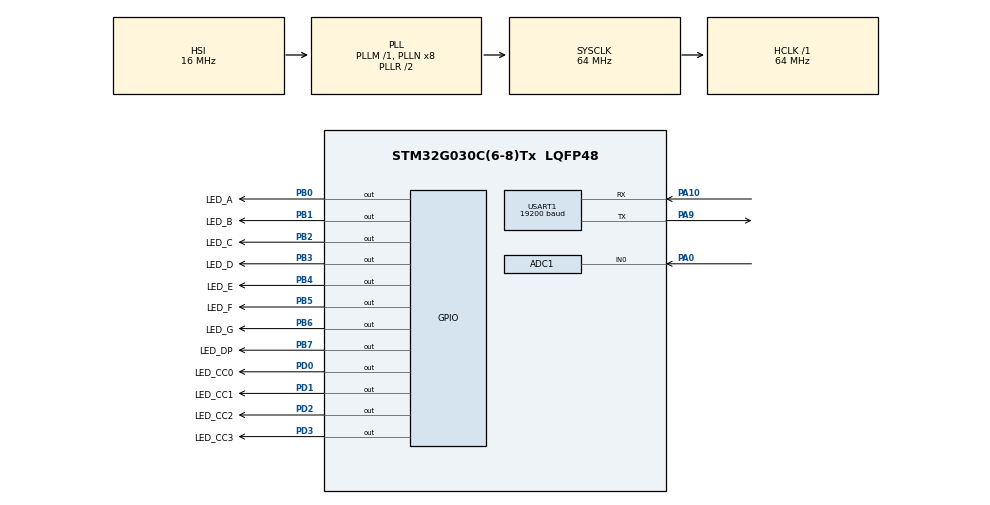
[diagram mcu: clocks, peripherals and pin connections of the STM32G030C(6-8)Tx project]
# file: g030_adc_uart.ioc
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ADC1.Channel-0\#ChannelRegularConversion=ADC_CHANNEL_0
ADC1.ClockPrescaler=ADC_CLOCK_ASYNC_DIV16
ADC1.ExternalTrigConv=ADC_EXTERNALTRIG_T3_TRGO
ADC1.NbrOfConversionFlag=1
ADC1.Rank-0\#ChannelRegularConversion=1
ADC1.SamplingTime-0\#ChannelRegularConversion=ADC_SAMPLINGTIME_COMMON_1
ADC1.SamplingTimeCommon1=ADC_SAMPLETIME_160CYCLES_5
ADC1.SamplingTimeCommon2=ADC_SAMPLETIME_160CYCLES_5
ADC1.SelectedChannel=ADC_CHANNEL_0
ADC1.master=1
Mcu.Family=STM32G0
Mcu.Name=STM32G030C(6-8)Tx
Mcu.Package=LQFP48
NVIC.ADC1_IRQn=true\:0\:0\:false\:false\:true\:true\:true\:true
NVIC.USART1_IRQn=true\:0\:0\:false\:false\:true\:true\:true\:true
PA0.Mode=IN0
PA0.Signal=ADC1_IN0
PA10.Mode=Asynchronous
PA10.Signal=USART1_RX
PA13.Mode=Serial_Wire
PA13.Signal=SYS_SWDIO
PA14-BOOT0.Mode=Serial_Wire
PA14-BOOT0.Signal=SYS_SWCLK
PA9.Mode=Asynchronous
PA9.Signal=USART1_TX
PB0.GPIO_Label=LED_A
PB0.Signal=GPIO_Output
PB1.GPIO_Label=LED_B
PB1.Signal=GPIO_Output
PB2.GPIO_Label=LED_C
PB2.Signal=GPIO_Output
PB3.GPIO_Label=LED_D
PB3.Signal=GPIO_Output
PB4.GPIO_Label=LED_E
PB4.Signal=GPIO_Output
PB5.GPIO_Label=LED_F
PB5.Signal=GPIO_Output
PB6.GPIO_Label=LED_G
PB6.Signal=GPIO_Output
PB7.GPIO_Label=LED_DP
PB7.Signal=GPIO_Output
PD0.GPIO_Label=LED_CC0
PD0.PinState=GPIO_PIN_RESET
PD0.Signal=GPIO_Output
PD1.GPIO_Label=LED_CC1
PD1.PinState=GPIO_PIN_RESET
PD1.Signal=GPIO_Output
PD2.GPIO_Label=LED_CC2
PD2.PinState=GPIO_PIN_RESET
PD2.Signal=GPIO_Output
PD3.GPIO_Label=LED_CC3
PD3.PinState=GPIO_PIN_RESET
PD3.Signal=GPIO_Output
ProjectManager.HeapSize=0x200
ProjectManager.StackSize=0x400
ProjectManager.TargetToolchain=MDK-ARM V5.32
RCC.ADCCLockSelection=RCC_ADCCLKSOURCE_PLLADC
RCC.ADCFreq_Value=32000000
RCC.AHBFreq_Value=64000000
RCC.CortexFreq_Value=64000000
RCC.EXTERNAL_CLOCK_VALUE=12288000
RCC.HCLKFreq_Value=64000000
RCC.HSE_VALUE=8000000
RCC.HSI_VALUE=16000000
RCC.LSE_VALUE=32768
RCC.PLLP=RCC_PLLP_DIV4
RCC.SYSCLKFreq_VALUE=64000000
RCC.SYSCLKSource=RCC_SYSCLKSOURCE_PLLCLK
RCC.VCOOutputFreq_Value=128000000
TIM3.Period=62497
TIM3.Prescaler=511
TIM3.TIM_MasterOutputTrigger=TIM_TRGO_UPDATE
USART1.BaudRate=19200
USART1.VirtualMode-Asynchronous=VM_ASYNC
VP_TIM3_VS_ClockSourceINT.Mode=Internal
board=custom

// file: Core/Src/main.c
/* USER CODE BEGIN Header */
/**
  ******************************************************************************
  * @file           : main.c
  * @brief          : Main program body
  ******************************************************************************
  * @attention
  *
  * Copyright (c) 2023 STMicroelectronics.
  * All rights reserved.
  *
  * This software is licensed under terms that can be found in the LICENSE file
  * in the root directory of this software component.
  * If no LICENSE file comes with this software, it is provided AS-IS.
  *
  ******************************************************************************
  */
/* USER CODE END Header */
#include "main.h"
#include "adc.h"
#include "tim.h"
#include "usart.h"
#include "gpio.h"

/* USER CODE BEGIN Includes */
#include <stdio.h>
#include "string.h"
#include <math.h>
/* USER CODE END Includes */

/* USER CODE BEGIN PD */
#define TSP_SHORT_CIRCUIT_THRESHOLD 	20U			/*!<NTC short-circuit */
#define TSP_OPEN_CIRCUIT_THRESHOLD 		4090U		/*!<NTC open-circuit */
#define LED_SEG_REFRESH_PERIOD		5
#define TSP_NTC_B_VALUE   			3950U 			/*!<NTC B value */
#define TSP_NTC_RATED_TEMP          25U   			/*!<NTC rated temperature(25��) */
#define TSP_NTC_RATED_RES           10000.0F 		/*!<NTC rated resistance 10K*/
#define TSP_NTC_KELVIN_VALUE		273.15F			/*!<NTC kelvin value */
#define TSP_NTC_T2_VALUE			TSP_NTC_KELVIN_VALUE + TSP_NTC_RATED_TEMP
#define TSP_NTC_ERROR_VALUE			0.5F 			/*!<NTC error,log replace of ln, need to add the error */
#define TSP_ADC_FULL_SCALE 		    4095.0F	        /*!<ADC scale*/
#define TSP_ADC_VOLTAGE_REF 	    3.28F	        /*!<Voltage reference*/
/* USER CODE END PD */

/* USER CODE BEGIN PV */
uint8_t adc_convert_cplt;
uint32_t stuid_cplt = 0;
float volt;
float resistant;
float tc;
float tc2;
/* USER CODE END PV */

void SystemClock_Config(void);
/* USER CODE BEGIN PFP */
uint8_t ch;
uint8_t ch_r;
__IO uint8_t dig_array[4]={0x01, 0x05, 0x01, 0x02};
extern void select_digit(uint8_t dig);
extern void write_segment(uint8_t seg);
extern void DisplayDigitFLOAT(uint32_t num);
extern void DisplayCallback(void);
static float tsp_ResistanceToTemperature( uint16_t adc_val );

const uint8_t seg_table[16] = {
	0x3f,		//"0"
	0x06,		//"1"
	0x5b,		//"2"
	0x4f,		//"3"
	0x66,		//"4"
	0x6d,		//"5"
	0x7d,		//"6"
	0x07,		//"7"
	0x7f,		//"8"
	0x6f,		//"9"
	0x77,		//"A"
	0x7c,		//"b"
	0x39,		//"C"
	0x5e,		//"d"
	0x79,		//"E"
	0x71		//"F"
};

//2151936
const uint32_t StuID[5] = {
	2151, 1519,5193,1936, 9360
};
static const uint16_t NTC_adc_table[] =
{
	3996, 3988, 3981, 3972, 3964, 3955, 3945, 3935, 3924, 3912,
	3900, 3887, 3874, 3860, 3845, 3830, 3813, 3796, 3778, 3760,
	3740, 3720, 3698, 3676, 3653, 3629, 3604, 3578, 3551, 3524,
	3495, 3465, 3435, 3403, 3371, 3337, 3303, 3267, 3231, 3194,
	3156, 3118, 3078, 3038, 2997, 2955, 2913, 2870, 2826, 2782,
	2738, 2693, 2648, 2602, 2556, 2510, 2464, 2417, 2371, 2324,
	2278, 2231, 2185, 2139, 2093, 2048, 2002, 1957, 1913, 1868,
	1825, 1781, 1739, 1697, 1655, 1614, 1574, 1534, 1495, 1456,
	1419, 1382, 1346, 1310, 1275, 1241, 1208, 1175, 1143, 1112,
	1081, 1052, 1023, 994, 967, 940, 914, 888, 863, 839,
	815, 792, 770, 748, 727, 707, 687, 668, 649, 631,
	613, 596, 579, 563, 547, 532, 517, 502, 488, 475,
	462, 449, 436, 424, 413, 401, 390, 380, 369, 359,
	350, 340, 331, 322, 314, 305, 297, 289, 282, 274,
	267, 260, 253, 247, 240, 234, 228, 222, 217, 211,
	206, 201, 196, 191, 186, 181, 177, 173, 168, 164,
	160
};

static const uint16_t NTC_temperature_table[] =
{
	-40, -39, -38, -37, -36, -35, -34, -33, -32, -31,
	-30, -29, -28, -27, -26, -25, -24, -23, -22, -21,
	-20, -19, -18, -17, -16, -15, -14, -13, -12, -11,
	-10, -9, -8, -7, -6, -5, -4, -3, -2, -1,
	0, 1, 2, 3, 4, 5, 6, 7, 8, 9,
	10, 11, 12, 13, 14, 15, 16, 17, 18, 19,
	20, 21, 22, 23, 24, 25, 26, 27, 28, 29,
	30, 31, 32, 33, 34, 35, 36, 37, 38, 39,
	40, 41, 42, 43, 44, 45, 46, 47, 48, 49,
	50, 51, 52, 53, 54, 55, 56, 57, 58, 59,
	60, 61, 62, 63, 64, 65, 66, 67, 68, 69,
	70, 71, 72, 73, 74, 75, 76, 77, 78, 79,
	80, 81, 82, 83, 84, 85, 86, 87, 88, 89,
	90, 91, 92, 93, 94, 95, 96, 97, 98, 99,
	100, 101, 102, 103, 104, 105, 106, 107, 108, 109,
	110, 111, 112, 113, 114, 115, 116, 117, 118, 119,
	120
};

/* USER CODE END PFP */

/* USER CODE BEGIN 0 */
double tsp_ln(double a)
{
	int N = 15;
	int k , nk;
	double x, xx , y;
	x = ( a - 1 ) / ( a + 1 );
	xx = x * x;
	nk = 2 * N + 1;
	y = 1.0 / nk;
	for( k = N; k > 0; k-- )
	{
		nk = nk - 2;
		y = ( 1.0 / nk ) + ( xx * y );
	}

	return ( 2.0 * x * y );
}
void DisplayCallback(void)
{
	uint8_t dig;
	uint32_t tick = HAL_GetTick();

	if((tick%LED_SEG_REFRESH_PERIOD) == 0)
	{
		dig = (tick/LED_SEG_REFRESH_PERIOD)%4;
		select_digit(dig);

		if(stuid_cplt <10 && stuid_cplt % 5 == 4 && dig == 3)		//digit is off
		{
			write_segment(0x00);
		}
		else if((dig_array[dig]&0x80) != 0)		//display minus
		{
			write_segment(0x40);
		}
		else if(dig == 1 && stuid_cplt > 9)		//add dot
		{
			write_segment(seg_table[dig_array[3-dig]&0x0f] | 0x80);
		}
		else
		{
			write_segment(seg_table[dig_array[3-dig]&0x0f]);
		}

	}
}

void select_digit(uint8_t dig)
{
	switch(dig)
	{
		case 0:
			HAL_GPIO_WritePin(GPIOD, LED_CC0_Pin, GPIO_PIN_SET);
			HAL_GPIO_WritePin(GPIOD, LED_CC1_Pin, GPIO_PIN_RESET);
			HAL_GPIO_WritePin(GPIOD, LED_CC2_Pin, GPIO_PIN_RESET);
			HAL_GPIO_WritePin(GPIOD, LED_CC3_Pin, GPIO_PIN_RESET);
			break;
		case 1:
			HAL_GPIO_WritePin(GPIOD, LED_CC0_Pin, GPIO_PIN_RESET);
			HAL_GPIO_WritePin(GPIOD, LED_CC1_Pin, GPIO_PIN_SET);
			HAL_GPIO_WritePin(GPIOD, LED_CC2_Pin, GPIO_PIN_RESET);
			HAL_GPIO_WritePin(GPIOD, LED_CC3_Pin, GPIO_PIN_RESET);
			break;
		case 2:
			HAL_GPIO_WritePin(GPIOD, LED_CC0_Pin, GPIO_PIN_RESET);
			HAL_GPIO_WritePin(GPIOD, LED_CC1_Pin, GPIO_PIN_RESET);
			HAL_GPIO_WritePin(GPIOD, LED_CC2_Pin, GPIO_PIN_SET);
			HAL_GPIO_WritePin(GPIOD, LED_CC3_Pin, GPIO_PIN_RESET);
			break;
		case 3:
			HAL_GPIO_WritePin(GPIOD, LED_CC0_Pin, GPIO_PIN_RESET);
			HAL_GPIO_WritePin(GPIOD, LED_CC1_Pin, GPIO_PIN_RESET);
			HAL_GPIO_WritePin(GPIOD, LED_CC2_Pin, GPIO_PIN_RESET);
			HAL_GPIO_WritePin(GPIOD, LED_CC3_Pin, GPIO_PIN_SET);
			break;
		default:
			break;
	}
}

void write_segment(uint8_t seg)
{
	HAL_GPIO_WritePin(GPIOB, seg, GPIO_PIN_SET);
	HAL_GPIO_WritePin(GPIOB, ~seg, GPIO_PIN_RESET);
}

void DisplayDigitFLOAT(uint32_t num)
{
	uint32_t tmp;
	if(num > 9999)
	{
		for(uint8_t i=0;i<8;i++)
			dig_array[i] = 0x0f;
	}
	else
	{
		tmp = num;
		for(uint8_t i=0;i<4;i++)
		{
			if((tmp == 0)&&(i!=0))
			{
				dig_array[i] = 0xff;
			}
			else
			{
				dig_array[i] = tmp%10;
			}
			tmp = tmp/10;
		}

	}
}

static float tsp_BinaryTableSearch( uint16_t adc_val )
{
	uint16_t start = 0U, end = 0U, mid = 0U;

	/* Get the arry length */
	end = ( sizeof( NTC_adc_table )/ sizeof( NTC_adc_table[0] ) ) - 1U;

	/* Data anomaly judgment */
	if( adc_val <= TSP_SHORT_CIRCUIT_THRESHOLD )
	{
		return 1.0F;
	}
	else if( adc_val >= TSP_OPEN_CIRCUIT_THRESHOLD )
	{
		return 2.0F;
	}
	else if( adc_val > NTC_adc_table[0] )
	{
		return 3.0F;
	}
	else if( adc_val < NTC_adc_table[end - 1U] )
	{
		return 4.0F;
	}
	else
	{
		/* MISRA-C coding rules */
	}

	while ( start <= end )
	{
		/* Get the mid value */
		mid = (start + end) >> 1;

		/* Just find */
		if( adc_val ==  NTC_adc_table[mid] )
		{
			break;
		}
		/* Right in between two temperature points */
		if( ( adc_val < NTC_adc_table[mid] ) && ( adc_val > NTC_adc_table[mid+1U] ) )
		{
			break;
		}

		/* The current AD value less than the middle of the array indicates
		 * the second half of the number to look for
		 */
		if( adc_val < NTC_adc_table[mid] )
		{
			start = mid + 1U;
		}
		/* The current AD value greater than the middle of the array indicates
		 * that the number to be found is in the first half
		 */
		else if( adc_val > NTC_adc_table[mid] )
		{
			end = mid - 1U;
		}
		else
		{
			/* MISRA-C coding rules */
		}
	}

 	return ( NTC_temperature_table[mid] + (float)( NTC_adc_table[mid] - adc_val ) * (float)( NTC_temperature_table[mid+1] - NTC_temperature_table[mid] ) / (float)( NTC_adc_table[mid]-NTC_adc_table[mid+1] ) );

	// return (mid-40) +  (float)(NTC_adc_table[mid] -key)/(float)(NTC_adc_table[mid]-NTC_adc_table[mid+1]);
}

void HAL_ADC_ConvCpltCallback(ADC_HandleTypeDef* hadc)
{
	uint16_t value;
	if(HAL_IS_BIT_SET(HAL_ADC_GetState(&hadc1), HAL_ADC_STATE_REG_EOC))
	{
		value = HAL_ADC_GetValue(&hadc1);
		//volt = value *3.3/4096;
		//resistant = 10000 / (3.3 / volt - 1);
		//tc = tsp_BinaryTableSearch(value);
		tc = tsp_ResistanceToTemperature(value);
		if (++stuid_cplt > 9) {
			adc_convert_cplt = 1;
		}
		else {
			int i = stuid_cplt % 5;
			DisplayDigitFLOAT(StuID[i]);
		}
	}
}

/* USER CODE END 0 */

int main(void)
{
  /* USER CODE BEGIN 1 */
	char txbuf[32];
	int len;
  /* USER CODE END 1 */

  /* MCU Configuration--------------------------------------------------------*/

  /* Reset of all peripherals, Initializes the Flash interface and the Systick. */
  HAL_Init();

  /* Configure the system clock */
  SystemClock_Config();

  /* Initialize all configured peripherals */
  MX_GPIO_Init();
  MX_ADC1_Init();
  MX_TIM3_Init();
  MX_USART1_UART_Init();
  /* USER CODE BEGIN 2 */
	HAL_ADC_Start_IT(&hadc1);
	HAL_TIM_Base_Start(&htim3);
  /* USER CODE END 2 */

  /* Infinite loop */
  while (1)
  {

    /* USER CODE BEGIN 3 */

	if(adc_convert_cplt == 1)
	{
		memset(txbuf,0,sizeof(txbuf));

		len = sprintf(txbuf,"temperature=%1.2f\n",tc);
		if(len > 0)
			HAL_UART_Transmit_IT(&huart1,(uint8_t*)txbuf,len);

		DisplayDigitFLOAT(roundf(tc*100.0f)/100.0f * 100);
		adc_convert_cplt = 0;
	}
  }
  /* USER CODE END 3 */
}

void SystemClock_Config(void)
{
  RCC_OscInitTypeDef RCC_OscInitStruct = {0};
  RCC_ClkInitTypeDef RCC_ClkInitStruct = {0};

  /** Configure the main internal regulator output voltage
  */
  HAL_PWREx_ControlVoltageScaling(PWR_REGULATOR_VOLTAGE_SCALE1);

  /** Initializes the RCC Oscillators according to the specified parameters
  * in the RCC_OscInitTypeDef structure.
  */
  RCC_OscInitStruct.OscillatorType = RCC_OSCILLATORTYPE_HSI;
  RCC_OscInitStruct.HSIState = RCC_HSI_ON;
  RCC_OscInitStruct.HSIDiv = RCC_HSI_DIV1;
  RCC_OscInitStruct.HSICalibrationValue = RCC_HSICALIBRATION_DEFAULT;
  RCC_OscInitStruct.PLL.PLLState = RCC_PLL_ON;
  RCC_OscInitStruct.PLL.PLLSource = RCC_PLLSOURCE_HSI;
  RCC_OscInitStruct.PLL.PLLM = RCC_PLLM_DIV1;
  RCC_OscInitStruct.PLL.PLLN = 8;
  RCC_OscInitStruct.PLL.PLLP = RCC_PLLP_DIV4;
  RCC_OscInitStruct.PLL.PLLR = RCC_PLLR_DIV2;
  if (HAL_RCC_OscConfig(&RCC_OscInitStruct) != HAL_OK)
  {
    Error_Handler();
  }

  /** Initializes the CPU, AHB and APB buses clocks
  */
  RCC_ClkInitStruct.ClockType = RCC_CLOCKTYPE_HCLK|RCC_CLOCKTYPE_SYSCLK
                              |RCC_CLOCKTYPE_PCLK1;
  RCC_ClkInitStruct.SYSCLKSource = RCC_SYSCLKSOURCE_PLLCLK;
  RCC_ClkInitStruct.AHBCLKDivider = RCC_SYSCLK_DIV1;
  RCC_ClkInitStruct.APB1CLKDivider = RCC_HCLK_DIV1;

  if (HAL_RCC_ClockConfig(&RCC_ClkInitStruct, FLASH_LATENCY_2) != HAL_OK)
  {
    Error_Handler();
  }
}

/* USER CODE BEGIN 4 */
static float tsp_ResistanceToTemperature( uint16_t adc_val )
{
	float B_value  = TSP_NTC_B_VALUE;
	float Rp_value = TSP_NTC_RATED_RES;
	float T1 = 0.0F;
	float T2 = TSP_NTC_T2_VALUE;
	float Rt_value = 0.0F;
	float volt_val = 0.0F;

	/* Data anomaly judgment */
	if( adc_val <= TSP_SHORT_CIRCUIT_THRESHOLD )
	{
		return 1.0F;
	}
	else if( adc_val >= TSP_OPEN_CIRCUIT_THRESHOLD )
	{
		return 2.0F;
	}
	else
	{
		/* MISRA-C coding rules */
	}

	/* Convert to voltage */
	volt_val = ((float) adc_val * TSP_ADC_VOLTAGE_REF) / TSP_ADC_FULL_SCALE;

	/* Get the NTC resistance value */
	Rt_value = volt_val / ( ( TSP_ADC_VOLTAGE_REF - volt_val ) / TSP_NTC_RATED_RES );

	/* Operational formula */
	//T1 = ( 1.0F / ( ( log( Rt_value / Rp_value ) / B_value ) + ( 1.0F / T2 ) ) );

	/* Operational formula */
	T1 = ( 1.0F / ( ( tsp_ln( Rt_value / Rp_value ) / B_value ) + ( 1.0F / T2 ) ) );

	/* Kelvin value convert to degree celsius value */
	T1 = T1 - TSP_NTC_KELVIN_VALUE;

	return ( T1 );
}
/* USER CODE END 4 */

void Error_Handler(void)
{
  __disable_irq();
  while (1)
  {
  }
}
